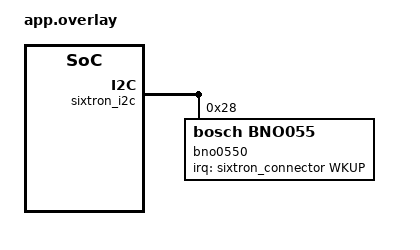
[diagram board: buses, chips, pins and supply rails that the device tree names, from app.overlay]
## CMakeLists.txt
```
# Copyright (c) 2024 CATIE
# SPDX-License-Identifier: Apache-2.0

cmake_minimum_required(VERSION 3.20.0)
find_package(Zephyr REQUIRED HINTS $ENV{ZEPHYR_BASE})
project(bno055)

FILE(GLOB app_sources src/main.c)
target_sources(app PRIVATE ${app_sources})
```

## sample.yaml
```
sample:
  name: BNO055 IMU sensor sample
tests:
  sample.default:
    tags: sensor
    integration_platforms:
      - zest_core_stm32l4a6rg
    depends_on: i2c
```

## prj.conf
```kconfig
CONFIG_STDOUT_CONSOLE=y
CONFIG_LOG=y

CONFIG_SENSOR=y
CONFIG_BNO055_TRIGGER=y
CONFIG_SENSOR_LOG_LEVEL_INF=y
```

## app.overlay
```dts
/*
 * Copyright (c) 2024 CATIE
 *
 * SPDX-License-Identifier: Apache-2.0
 */

#include <zephyr/dt-bindings/gpio/sixtron-header.h>

&sixtron_i2c {
	status = "okay";

	// /!\ TO DO: Multiple i2c adress possible 28/29
	bno0550: bno055@28 {
		compatible = "bosch,bno055";
		reg = <0x28>;
		irq-gpios = <&sixtron_connector WKUP (GPIO_ACTIVE_HIGH | GPIO_PULL_DOWN)>;
		use_xtal;
		zephyr,deferred-init;
	};
};
```

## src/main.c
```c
/*
 * Copyright (c) 2024, CATIE
 * SPDX-License-Identifier: Apache-2.0
 */

#include <zephyr/kernel.h>
#include <zephyr/device.h>
#include <zephyr/drivers/sensor.h>
#include <bno055.h> // Required for custom SENSOR_CHAN_*

static const struct device *const bno055_dev = DEVICE_DT_GET(DT_NODELABEL(bno0550));
static struct sensor_trigger trig_acc_drdy;
static struct sensor_trigger trig_acc_motion;
static struct sensor_trigger trig_acc_high_g;
static struct sensor_trigger trig_gyr_any_motion;
static struct sensor_trigger trig_gyr_high_rate;

static bool trigger_anyno_motion = true;
static bool bno055_fusion = false;

void acc_drdy(const struct device *dev, const struct sensor_trigger *trigger)
{
	printk("BSX data ready!!\n");
}

void acc_motion(const struct device *dev, const struct sensor_trigger *trigger)
{
	if (trigger->type == SENSOR_TRIG_DELTA) {
		printk("ACC any motion interrupt!!\n");
	} else if (trigger->type == SENSOR_TRIG_STATIONARY) {
		printk("ACC no motion interrupt!!\n");
	} else {
		printk("Unknown interrupt!!\n");
	}
}

void acc_high_g(const struct device *dev, const struct sensor_trigger *trigger)
{
	printk("ACC high G interrupt!!\n");
}

void gyr_any_motion(const struct device *dev, const struct sensor_trigger *trigger)
{
	printk("GYR any motion interrupt!!\n");
}

void gyr_high_rate(const struct device *dev, const struct sensor_trigger *trigger)
{
	printk("GYR high RATE interrupt!!\n");
}

int main(void)
{
#if Z_DEVICE_DT_FLAGS(DT_NODELABEL(bno0550)) & DEVICE_FLAG_INIT_DEFERRED
	k_sleep(K_MSEC(BNO055_TIMING_STARTUP));
	device_init(bno055_dev);
#endif

	if (!device_is_ready(bno055_dev)) {
		printk("Device %s is not ready\n", bno055_dev->name);
		return 1;
	}

	struct sensor_value config = {
		.val1 = (bno055_fusion) ? BNO055_MODE_NDOF : BNO055_MODE_ACC_MAG_GYRO,
		.val2 = 0,
	};
	sensor_attr_set(bno055_dev, SENSOR_CHAN_ALL, SENSOR_ATTR_CONFIGURATION, &config);
	config.val1 = BNO055_POWER_NORMAL;
	config.val2 = 0;
	sensor_attr_set(bno055_dev, SENSOR_CHAN_ALL, BNO055_SENSOR_ATTR_POWER_MODE, &config);

	trig_acc_drdy.type = SENSOR_TRIG_DATA_READY;
	trig_acc_drdy.chan = SENSOR_CHAN_ACCEL_XYZ;
	sensor_trigger_set(bno055_dev, &trig_acc_drdy, acc_drdy);

	if (trigger_anyno_motion) {
		config.val1 = BNO055_ACC_DURATION_MOTION_ANY;
		config.val2 = 0x02; // Value
		sensor_attr_set(bno055_dev, SENSOR_CHAN_ACCEL_XYZ, SENSOR_ATTR_SLOPE_DUR, &config);
		config.val1 = BNO055_ACC_THRESHOLD_MOTION_ANY;
		config.val2 = 0x04; // Value
		sensor_attr_set(bno055_dev, SENSOR_CHAN_ACCEL_XYZ, SENSOR_ATTR_SLOPE_TH, &config);
		trig_acc_motion.type = SENSOR_TRIG_DELTA;
		trig_acc_motion.chan = SENSOR_CHAN_ACCEL_XYZ;
		sensor_trigger_set(bno055_dev, &trig_acc_motion, acc_motion);
	} else {
		config.val1 = BNO055_ACC_DURATION_MOTION_NO;
		config.val2 =
			BNO055_IRQ_ACC_SET_MOTION_NO || BNO055_ACC_DURATION_MOTION_SLOWNO_1_SECONDS;
		sensor_attr_set(bno055_dev, SENSOR_CHAN_ACCEL_XYZ, SENSOR_ATTR_SLOPE_DUR, &config);
		config.val1 = BNO055_ACC_THRESHOLD_MOTION_NO;
		config.val2 = 0x04; // Value
		sensor_attr_set(bno055_dev, SENSOR_CHAN_ACCEL_XYZ, SENSOR_ATTR_SLOPE_TH, &config);
		trig_acc_motion.type = SENSOR_TRIG_STATIONARY;
		trig_acc_motion.chan = SENSOR_CHAN_ACCEL_XYZ;
		sensor_trigger_set(bno055_dev, &trig_acc_motion, acc_motion);
	}

	config.val1 = BNO055_ACC_DURATION_HIGH_G;
	config.val2 = 0x7F; // Value (127 + 1) * 2 = 256 ms
	sensor_attr_set(bno055_dev, SENSOR_CHAN_ACCEL_XYZ, SENSOR_ATTR_SLOPE_DUR, &config);
	config.val1 = BNO055_ACC_THRESHOLD_HIGH_G;
	config.val2 = 0x48; // Value
	sensor_attr_set(bno055_dev, SENSOR_CHAN_ACCEL_XYZ, SENSOR_ATTR_SLOPE_TH, &config);
	trig_acc_high_g.type = BNO055_SENSOR_TRIG_HIGH_G;
	trig_acc_high_g.chan = SENSOR_CHAN_ACCEL_XYZ;
	sensor_trigger_set(bno055_dev, &trig_acc_high_g, acc_high_g);

	config.val1 = 0x02; // Value
	config.val2 = BNO055_GYR_AWAKE_DURATION_MOTION_ANY_8_SAMPLES;
	sensor_attr_set(bno055_dev, SENSOR_CHAN_GYRO_XYZ, SENSOR_ATTR_SLOPE_DUR, &config);
	config.val1 = 0x08; // Value
	config.val2 = 0;
	sensor_attr_set(bno055_dev, SENSOR_CHAN_GYRO_XYZ, SENSOR_ATTR_SLOPE_TH, &config);
	trig_gyr_any_motion.type = SENSOR_TRIG_DELTA;
	trig_gyr_any_motion.chan = SENSOR_CHAN_GYRO_XYZ;
	sensor_trigger_set(bno055_dev, &trig_gyr_any_motion, gyr_any_motion);

	config.val1 = 0x0A; // Value
	config.val2 = 0;
	sensor_attr_set(bno055_dev, SENSOR_CHAN_GYRO_X, SENSOR_ATTR_SLOPE_DUR, &config);
	config.val1 = 0x0A; // Value
	config.val2 = 0;
	sensor_attr_set(bno055_dev, SENSOR_CHAN_GYRO_Y, SENSOR_ATTR_SLOPE_DUR, &config);
	config.val1 = 0x0A; // Value
	config.val2 = 0;
	sensor_attr_set(bno055_dev, SENSOR_CHAN_GYRO_Z, SENSOR_ATTR_SLOPE_DUR, &config);
	config.val1 = 0x01; // Threshold
	config.val2 = 0x00; // Hysteresis
	sensor_attr_set(bno055_dev, SENSOR_CHAN_GYRO_X, SENSOR_ATTR_HYSTERESIS, &config);
	config.val1 = 0x01; // Threshold
	config.val2 = 0x00; // Hysteresis
	sensor_attr_set(bno055_dev, SENSOR_CHAN_GYRO_Y, SENSOR_ATTR_HYSTERESIS, &config);
	config.val1 = 0x01; // Threshold
	config.val2 = 0x00; // Hysteresis
	sensor_attr_set(bno055_dev, SENSOR_CHAN_GYRO_Z, SENSOR_ATTR_HYSTERESIS, &config);
	trig_gyr_high_rate.type = BNO055_SENSOR_TRIG_HIGH_RATE;
	trig_gyr_high_rate.chan = SENSOR_CHAN_GYRO_XYZ;
	sensor_trigger_set(bno055_dev, &trig_gyr_high_rate, gyr_high_rate);

	config.val1 = BNO055_GYR_FILTER_OFF; // Deactive HR Filter
	config.val2 = BNO055_GYR_FILTER_OFF; // Deactive AM Filter
	sensor_attr_set(bno055_dev, SENSOR_CHAN_GYRO_XYZ, SENSOR_ATTR_FEATURE_MASK, &config);

	while (1) {
		sensor_sample_fetch_chan(bno055_dev, BNO055_MODE_ACC_ONLY);

		// Example for Linear Acceleration and Gravity
		if (!bno055_fusion) {
			struct sensor_value acc[3];
			sensor_channel_get(bno055_dev, SENSOR_CHAN_ACCEL_XYZ, acc);

			printk("ACCEL: X(m.s-2)[%d.%06d] Y(m.s-2)[%d.%06d] Z(m.s-2)[%d.%06d]\n",
			       acc[0].val1, acc[0].val2, acc[1].val1, acc[1].val2, acc[2].val1,
			       acc[2].val2);
		} else {
			struct sensor_value lia[3], grav[3], eul[3], quat[4], calib[4];
			sensor_channel_get(bno055_dev, BNO055_SENSOR_CHAN_LINEAR_ACCEL_XYZ, lia);
			sensor_channel_get(bno055_dev, BNO055_SENSOR_CHAN_GRAVITY_XYZ, grav);
			sensor_channel_get(bno055_dev, BNO055_SENSOR_CHAN_EULER_YRP, eul);
			sensor_channel_get(bno055_dev, BNO055_SENSOR_CHAN_QUATERNION_WXYZ, quat);
			sensor_channel_get(bno055_dev, BNO055_SENSOR_CHAN_CALIBRATION_SGAM, calib);

			printk("LINACCEL: X(m.s-2)[%d.%06d] Y(m.s-2)[%d.%06d] Z(m.s-2)[%d.%06d]\n",
			       lia[0].val1, lia[0].val2, lia[1].val1, lia[1].val2, lia[2].val1,
			       lia[2].val2);
			printk("GRAVITY: X(m.s-2)[%d.%06d] Y(m.s-2)[%d.%06d] Z(m.s-2)[%d.%06d]\n",
			       grav[0].val1, grav[0].val2, grav[1].val1, grav[1].val2, grav[2].val1,
			       grav[2].val2);
			printk("EULER: X(rad.s-1)[%d.%06d] Y(rad.s-1)[%d.%06d] "
			       "Z(rad.s-1)[%d.%06d]\n",
			       eul[0].val1, eul[0].val2, eul[1].val1, eul[1].val2, eul[2].val1,
			       eul[2].val2);
			printk("QUATERNION: W[%d.%06d] X[%d.%06d] Y[%d.%06d] Z[%d.%06d]\n",
			       quat[0].val1, quat[0].val2, quat[1].val1, quat[1].val2, quat[2].val1,
			       quat[2].val2, quat[2].val1, quat[2].val2);
			printk("CALIB: SYS[%d] GYR[%d] ACC[%d] MAG[%d]\n", calib[0].val1,
			       calib[1].val1, calib[2].val1, calib[3].val1);
		}

		k_sleep(K_MSEC(500));
	}
}
```
